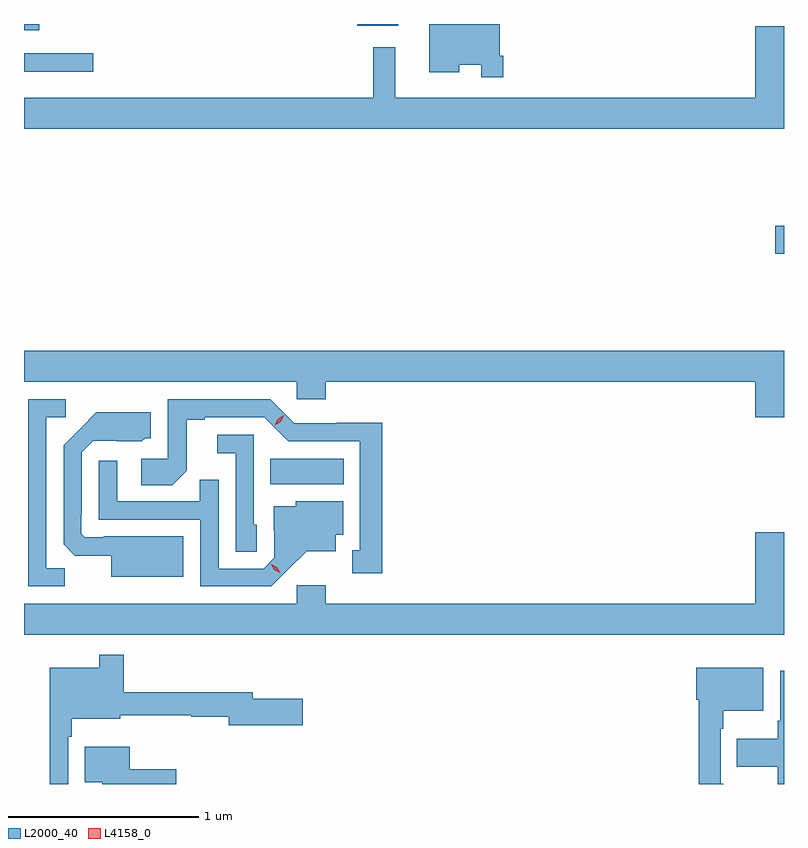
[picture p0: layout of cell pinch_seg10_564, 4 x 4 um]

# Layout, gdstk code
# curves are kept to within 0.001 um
import gdstk
lib = gdstk.Library(unit=1e-6, precision=1e-09)
def R(c, l, rs):  # rectangles x0, y0, x1, y1
    for r in rs: c.add(gdstk.rectangle(r[:2], r[2:], *l))
def P(c, l, *ps):  # polygons
    for p in ps: c.add(gdstk.Polygon(p, *l))
L2000_40 = (2000, 40)
L4158_0 = (4158, 0)

pinch_seg10_564 = lib.new_cell('pinch_seg10_564')
R(pinch_seg10_564, L2000_40, [(378.238,1287.788,378.625,1287.922), (380.898,1289.003,380.943,1289.15), (376.943,1289.96,377.308,1290.057), (376.943,1290.177,377.023,1290.211), (378.698,1290.203,378.913,1290.211)])
P(pinch_seg10_564, L2000_40, [(379.466,1290.043),(379.446,1290.043),(379.446,1290.211),(379.076,1290.211),(379.076,1289.957),(379.234,1289.957),(379.234,1289.996),(379.35,1289.996),(379.35,1289.931),(379.466,1289.931)],
  [(380.943,1290.199),(380.792,1290.199),(380.792,1289.824),(378.898,1289.824),(378.898,1290.088),(378.781,1290.088),(378.781,1289.824),(376.943,1289.824),(376.943,1289.66),(380.943,1289.66)],
  [(380.943,1288.492),(376.943,1288.492),(376.943,1288.328),(378.378,1288.328),(378.378,1288.235),(378.53,1288.235),(378.53,1288.328),(380.792,1288.328),(380.792,1288.14),(380.943,1288.14)],
  [(378.829,1288.112),(378.588,1288.112),(378.588,1288.11),(378.366,1288.11),(378.24,1288.236),(377.7,1288.236),(377.7,1287.924),(377.559,1287.924),(377.559,1287.784),(377.723,1287.784),(377.799,1287.86),(377.799,1288.128),(377.893,1288.128),(377.893,1288.14),(378.207,1288.14),(378.333,1288.014),(378.71,1288.014),(378.71,1287.441),(378.671,1287.441),(378.671,1287.321),(378.829,1287.321)],
  [(377.157,1287.347),(377.061,1287.347),(377.061,1288.14),(377.164,1288.14),(377.164,1288.236),(376.965,1288.236),(376.965,1287.252),(377.157,1287.252)],
  [(377.782,1287.514),(377.362,1287.514),(377.362,1287.51),(377.262,1287.51),(377.244,1287.528),(377.244,1287.628),(377.247,1287.628),(377.247,1287.957),(377.307,1288.017),(377.564,1288.016),(377.58,1288.032),(377.611,1288.032),(377.611,1288.168),(377.323,1288.168),(377.151,1287.994),(377.151,1287.472),(377.21,1287.413),(377.402,1287.413),(377.402,1287.302),(377.782,1287.302)],
  [(378.168,1287.576),(378.153,1287.576),(378.153,1288.05),(377.961,1288.05),(377.961,1287.953),(378.057,1287.953),(378.057,1287.433),(378.168,1287.433)],
  [(378.328,1287.335),(378.431,1287.437),(378.583,1287.437),(378.583,1287.524),(378.622,1287.524),(378.622,1287.7),(378.372,1287.7),(378.372,1287.673),(378.257,1287.673),(378.257,1287.544),(378.261,1287.544),(378.261,1287.402),(378.204,1287.345),(377.967,1287.345),(377.967,1287.812),(377.869,1287.812),(377.869,1287.699),(377.433,1287.699),(377.433,1287.913),(377.337,1287.913),(377.337,1287.603),(377.871,1287.603),(377.871,1287.252),(378.244,1287.252)],
  [(380.943,1287.535),(380.792,1287.535),(380.792,1287.16),(378.53,1287.16),(378.53,1287.256),(378.378,1287.256),(378.378,1287.16),(376.943,1287.16),(376.943,1286.996),(380.943,1286.996)],
  [(377.175,1286.459),(377.195,1286.459),(377.195,1286.555),(377.449,1286.555),(377.449,1286.574),(377.824,1286.574),(377.824,1286.566),(378.02,1286.566),(378.02,1286.519),(378.409,1286.519),(378.409,1286.661),(378.148,1286.661),(378.148,1286.695),(377.468,1286.695),(377.468,1286.89),(377.34,1286.89),(377.34,1286.824),(377.078,1286.824),(377.078,1286.211),(377.175,1286.211)],
  [(380.623,1286.213),(380.61,1286.213),(380.61,1286.501),(380.623,1286.501),(380.623,1286.597),(380.833,1286.597),(380.833,1286.824),(380.48,1286.824),(380.48,1286.654),(380.494,1286.654),(380.494,1286.211),(380.623,1286.211)],
  [(380.943,1286.808),(380.922,1286.808),(380.922,1286.545),(380.91,1286.545),(380.91,1286.449),(380.695,1286.449),(380.695,1286.302),(380.91,1286.302),(380.91,1286.211),(380.943,1286.211)],
  [(377.743,1286.289),(377.5,1286.289),(377.5,1286.407),(377.264,1286.407),(377.264,1286.219),(377.354,1286.219),(377.354,1286.211),(377.743,1286.211)])
P(pinch_seg10_564, L4158_0, [(378.262,1288.099),(378.262,1288.099),(378.279,1288.131),(378.31,1288.151),(378.31,1288.151),(378.31,1288.15),(378.294,1288.118),(378.262,1288.099)],
  [(378.291,1287.322),(378.26,1287.338),(378.243,1287.367),(378.243,1287.368),(378.244,1287.368),(378.274,1287.352),(378.291,1287.323),(378.291,1287.322)])

lib.write_gds('pinch_seg10_564.gds')
